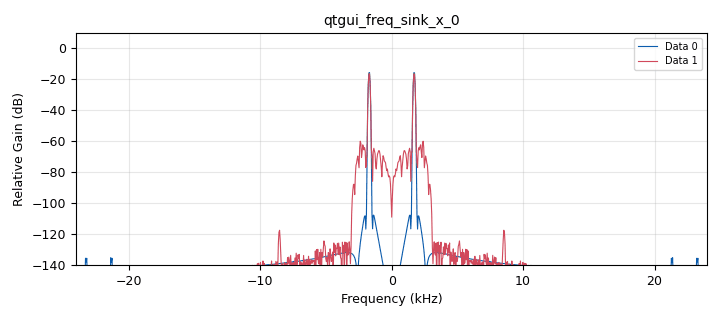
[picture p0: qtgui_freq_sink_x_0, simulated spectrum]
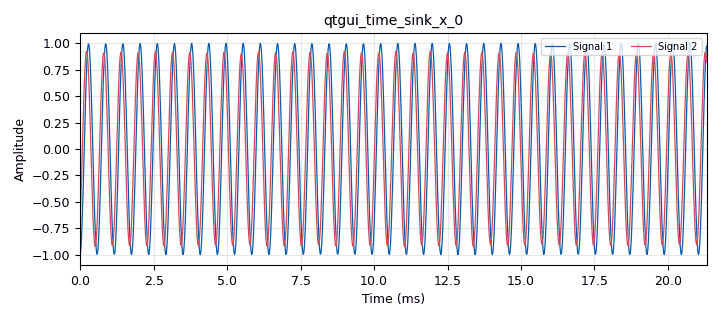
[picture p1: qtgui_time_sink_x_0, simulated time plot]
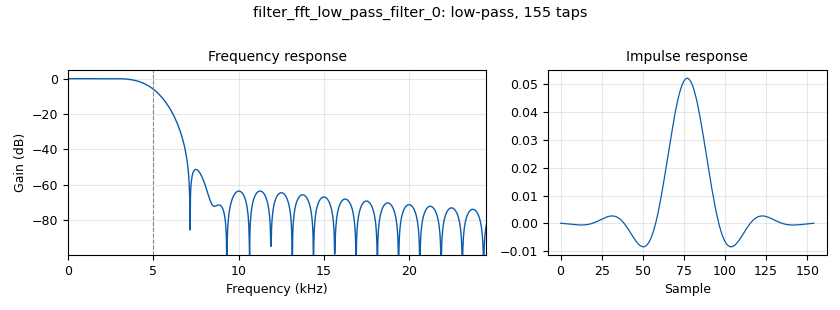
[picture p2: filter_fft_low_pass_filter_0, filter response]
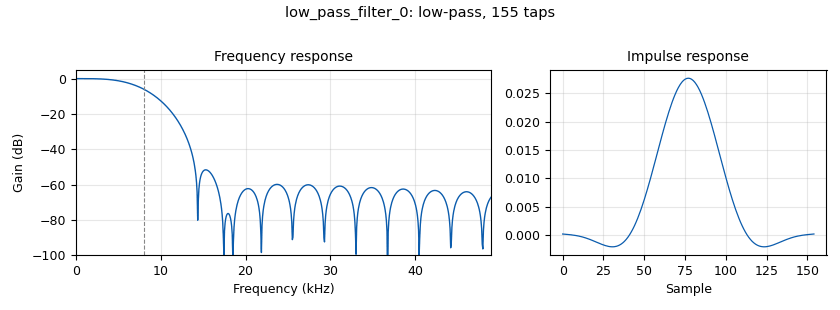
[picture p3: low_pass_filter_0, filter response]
options:
  parameters:
    author: emmanuelkwakyenyantakyi
    generate_options: qt_gui
    id: narrow_band_fm_2_4
    output_language: python
    title: Narrow band fm emission and reception
  states: {}

blocks:
- name: D
  id: variable
  parameters:
    value: '4'
  states: {}
- name: Vnoise
  id: variable_qtgui_range
  parameters:
    start: '0'
    step: '0.01'
    stop: '1'
    value: '0.3'
  states: {}
- name: df
  id: variable_qtgui_range
  parameters:
    start: '0'
    step: 1e3
    stop: samp_rate/2
    value: '0'
  states: {}
- name: samp_rate
  id: variable
  parameters:
    value: 48e3
  states: {}
- name: analog_nbfm_rx_0
  id: analog_nbfm_rx
  parameters:
    audio_rate: int(samp_rate)
    max_dev: 5e3
    quad_rate: int(samp_rate*D)
    tau: '75e-6'
  states: {}
- name: analog_nbfm_tx_0
  id: analog_nbfm_tx
  parameters:
    audio_rate: int(samp_rate)
    fh: '-1.0'
    max_dev: 5e3
    quad_rate: int(samp_rate*D)
    tau: '75e-6'
  states: {}
- name: analog_sig_source_x_0
  id: analog_sig_source_x
  parameters:
    amp: '1'
    freq: '1710'
    offset: '0'
    phase: '0'
    samp_rate: samp_rate
    type: float
    waveform: analog.GR_COS_WAVE
  states: {}
- name: blocks_repeat_0
  id: blocks_repeat
  parameters:
    interp: '3'
    type: complex
  states: {}
- name: blocks_throttle2_0
  id: blocks_throttle2
  parameters:
    samples_per_second: samp_rate*D*3
    type: complex
  states: {}
- name: channels_channel_model_0
  id: channels_channel_model
  parameters:
    epsilon: '1.0'
    freq_offset: df
    noise_voltage: Vnoise
    seed: '0'
    taps: '1.0'
  states: {}
- name: filter_fft_low_pass_filter_0
  id: filter_fft_low_pass_filter
  parameters:
    cutoff_freq: 5e3
    decim: '1'
    gain: '1'
    samp_rate: samp_rate*D
    type: ccc
    width: samp_rate*D/64
    win: window.WIN_HAMMING
  states: {}
- name: low_pass_filter_0
  id: low_pass_filter
  parameters:
    cutoff_freq: 8e3
    decim: '3'
    gain: '1'
    samp_rate: samp_rate*D*3
    type: fir_filter_ccf
    width: samp_rate*D*3/64
    win: window.WIN_HAMMING
  states: {}
- name: qtgui_freq_sink_x_0
  id: qtgui_freq_sink_x
  parameters:
    bw: samp_rate
    fc: '0'
    fftsize: '1024'
    nconnections: '2'
    type: float
  states: {}
- name: qtgui_time_sink_x_0
  id: qtgui_time_sink_x
  parameters:
    autoscale: 'True'
    comment: |-
      Comparison of emitted and
      received signals
    nconnections: '2'
    size: '1024'
    srate: samp_rate
    type: float
  states: {}
- name: virtual_sink_0
  id: virtual_sink
  parameters:
    comment: Emission Chain
  states: {}
- name: virtual_source_0
  id: virtual_source
  parameters:
    comment: Reception chain
  states: {}

connections:
- [analog_nbfm_rx_0, '0', qtgui_freq_sink_x_0, '1']
- [analog_nbfm_rx_0, '0', qtgui_time_sink_x_0, '1']
- [analog_nbfm_tx_0, '0', filter_fft_low_pass_filter_0, '0']
- [analog_sig_source_x_0, '0', analog_nbfm_tx_0, '0']
- [analog_sig_source_x_0, '0', qtgui_freq_sink_x_0, '0']
- [analog_sig_source_x_0, '0', qtgui_time_sink_x_0, '0']
- [blocks_repeat_0, '0', virtual_sink_0, '0']
- [blocks_throttle2_0, '0', channels_channel_model_0, '0']
- [channels_channel_model_0, '0', low_pass_filter_0, '0']
- [filter_fft_low_pass_filter_0, '0', blocks_repeat_0, '0']
- [low_pass_filter_0, '0', analog_nbfm_rx_0, '0']
- [virtual_source_0, '0', blocks_throttle2_0, '0']

metadata:
  file_format: 1
  grc_version: 3.10.12.0
